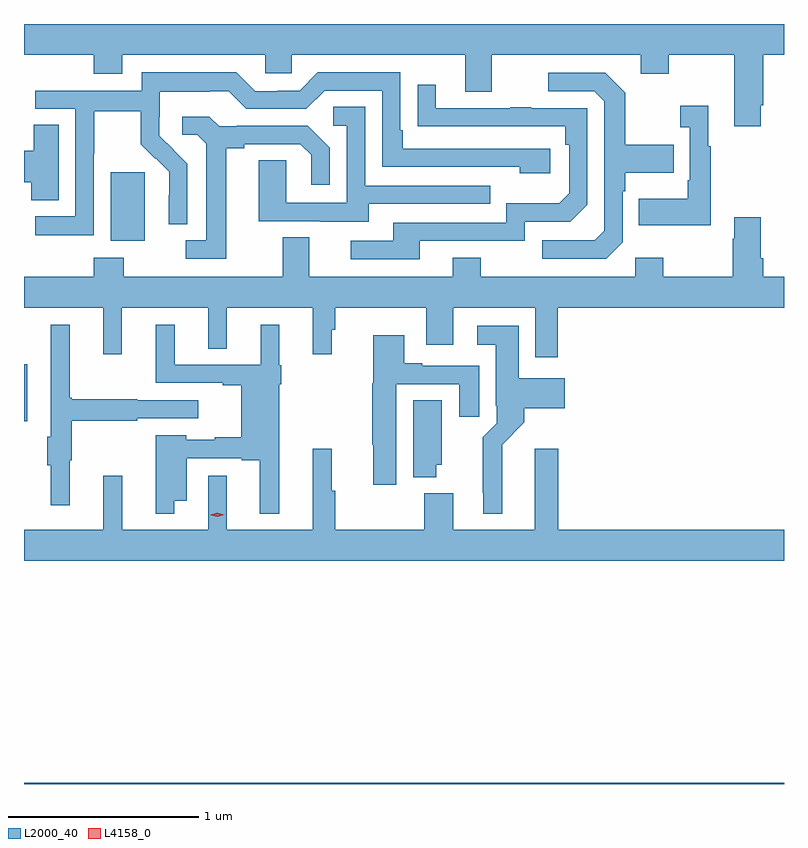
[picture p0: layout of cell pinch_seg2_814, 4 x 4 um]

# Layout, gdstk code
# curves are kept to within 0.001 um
import gdstk
lib = gdstk.Library(unit=1e-6, precision=1e-09)
def R(c, l, rs):  # rectangles x0, y0, x1, y1
    for r in rs: c.add(gdstk.rectangle(r[:2], r[2:], *l))
def P(c, l, *ps):  # polygons
    for p in ps: c.add(gdstk.Polygon(p, *l))
L2000_40 = (2000, 40)
L4158_0 = (4158, 0)

pinch_seg2_814 = lib.new_cell('pinch_seg2_814')
R(pinch_seg2_814, L2000_40, [(728.747,593.182,732.747,593.188), (728.747,595.091,728.764,595.39), (729.203,596.042,729.382,596.403)])
P(pinch_seg2_814, L2000_40, [(732.625,596.755),(732.638,596.755),(732.638,597.02),(732.747,597.02),(732.747,597.182),(728.747,597.182),(728.747,597.02),(729.113,597.02),(729.113,596.921),(729.265,596.921),(729.265,597.02),(730.017,597.02),(730.017,596.922),(730.155,596.922),(730.155,597.02),(731.069,597.02),(731.069,596.826),(731.209,596.826),(731.209,597.02),(731.993,597.02),(731.993,596.921),(732.141,596.921),(732.141,597.02),(732.485,597.02),(732.485,596.643),(732.625,596.643)],
  [(729.114,596.5),(729.117,596.5),(729.117,596.724),(729.361,596.724),(729.361,596.549),(729.438,596.472),(729.441,596.475),(729.512,596.405),(729.512,596.282),(729.51,596.282),(729.51,596.128),(729.606,596.128),(729.606,596.446),(729.46,596.594),(729.46,596.691),(729.462,596.691),(729.462,596.825),(729.725,596.825),(729.725,596.829),(729.825,596.829),(729.918,596.736),(730.233,596.736),(730.329,596.832),(730.632,596.832),(730.632,596.43),(731.357,596.43),(731.357,596.396),(731.518,596.396),(731.518,596.526),(730.741,596.526),(730.741,596.623),(730.728,596.623),(730.728,596.928),(730.293,596.928),(730.197,596.832),(730.079,596.832),(730.079,596.829),(729.963,596.829),(729.863,596.929),(729.366,596.929),(729.366,596.832),(728.805,596.832),(728.805,596.736),(729.018,596.736),(729.018,596.169),(728.805,596.169),(728.805,596.071),(729.114,596.071)],
  [(731.898,596.034),(731.898,596.303),(731.911,596.303),(731.911,596.399),(732.167,596.399),(732.167,596.547),(731.911,596.547),(731.911,596.819),(731.805,596.925),(731.505,596.925),(731.505,596.829),(731.748,596.829),(731.802,596.775),(731.802,596.094),(731.751,596.043),(731.475,596.043),(731.475,595.947),(731.811,595.947)],
  [(730.831,596.04),(731.382,596.04),(731.382,596.142),(731.622,596.142),(731.712,596.232),(731.712,596.739),(731.417,596.739),(731.417,596.744),(731.305,596.744),(731.305,596.739),(730.915,596.739),(730.915,596.863),(730.819,596.863),(730.819,596.644),(731.596,596.643),(731.596,596.546),(731.616,596.546),(731.616,596.292),(731.563,596.239),(731.286,596.239),(731.286,596.136),(730.691,596.136),(730.691,596.04),(730.467,596.04),(730.467,595.944),(730.831,595.944)],
  [(732.361,596.539),(732.349,596.539),(732.349,596.752),(732.201,596.752),(732.201,596.639),(732.252,596.639),(732.252,596.359),(732.24,596.359),(732.24,596.263),(731.983,596.263),(731.983,596.123),(732.361,596.123)],
  [(730.561,596.235),(731.201,596.235),(731.201,596.331),(730.542,596.331),(730.542,596.747),(730.374,596.747),(730.374,596.646),(730.446,596.646),(730.446,596.241),(730.128,596.241),(730.128,596.465),(729.983,596.465),(729.983,596.145),(730.307,596.145),(730.307,596.141),(730.561,596.141)],
  [(729.811,596.528),(729.907,596.528),(729.907,596.55),(730.202,596.55),(730.259,596.493),(730.259,596.337),(730.356,596.337),(730.356,596.53),(730.24,596.646),(729.868,596.646),(729.868,596.643),(729.774,596.643),(729.722,596.695),(729.579,596.695),(729.579,596.598),(729.66,596.598),(729.707,596.551),(729.707,596.043),(729.597,596.043),(729.597,595.947),(729.811,595.947)],
  [(728.929,596.651),(728.798,596.651),(728.798,596.515),(728.747,596.515),(728.747,596.35),(728.786,596.35),(728.786,596.254),(728.929,596.254)],
  [(730.249,596.06),(730.109,596.06),(730.109,595.852),(729.273,595.852),(729.273,595.951),(729.113,595.951),(729.113,595.852),(728.747,595.852),(728.747,595.688),(729.164,595.688),(729.164,595.443),(729.262,595.443),(729.262,595.688),(729.716,595.688),(729.716,595.474),(729.815,595.474),(729.815,595.688),(730.268,595.688),(730.268,595.443),(730.368,595.443),(730.368,595.574),(730.385,595.574),(730.385,595.688),(730.865,595.688),(730.865,595.494),(731.005,595.494),(731.005,595.688),(731.439,595.688),(731.439,595.428),(731.555,595.428),(731.555,595.688),(732.747,595.688),(732.747,595.852),(732.638,595.852),(732.638,595.948),(732.625,595.948),(732.625,596.164),(732.485,596.164),(732.485,596.051),(732.478,596.051),(732.478,595.852),(732.111,595.852),(732.111,595.951),(731.964,595.951),(731.964,595.852),(731.151,595.852),(731.151,595.951),(731.003,595.951),(731.003,595.852),(730.249,595.852)],
  [(728.987,594.885),(728.998,594.885),(728.998,595.095),(729.344,595.095),(729.344,595.107),(729.664,595.107),(729.664,595.203),(729.344,595.203),(729.344,595.206),(728.998,595.206),(728.998,595.216),(728.987,595.216),(728.987,595.6),(728.889,595.6),(728.889,595.01),(728.869,595.01),(728.869,594.86),(728.888,594.86),(728.888,594.648),(728.987,594.648)],
  [(729.539,594.674),(729.604,594.674),(729.604,594.897),(729.893,594.897),(729.893,594.885),(729.989,594.885),(729.989,594.605),(730.09,594.605),(730.09,595.286),(730.102,595.286),(730.102,595.386),(730.091,595.386),(730.091,595.6),(729.992,595.6),(729.992,595.389),(729.541,595.389),(729.541,595.6),(729.44,595.6),(729.44,595.293),(729.794,595.293),(729.794,595.281),(729.89,595.281),(729.89,595.006),(729.751,595.006),(729.751,594.993),(729.6,594.993),(729.6,595.018),(729.441,595.018),(729.441,594.605),(729.539,594.605)],
  [(731.263,594.968),(731.381,595.086),(731.381,595.16),(731.593,595.16),(731.593,595.318),(731.35,595.318),(731.35,595.594),(731.133,595.594),(731.133,595.493),(731.231,595.493),(731.231,595.174),(731.235,595.174),(731.235,595.08),(731.161,595.006),(731.161,594.715),(731.165,594.715),(731.165,594.605),(731.263,594.605)],
  [(730.705,595.287),(731.039,595.287),(731.039,595.116),(731.143,595.116),(731.143,595.383),(730.843,595.383),(730.843,595.396),(730.747,595.396),(730.747,595.543),(730.586,595.543),(730.586,595.29),(730.579,595.29),(730.579,594.968),(730.586,594.968),(730.586,594.756),(730.705,594.756)],
  [(730.918,594.861),(730.945,594.861),(730.945,595.202),(730.796,595.202),(730.796,594.797),(730.918,594.797)],
  [(732.747,594.52),(731.558,594.52),(731.558,594.946),(731.435,594.946),(731.435,594.52),(731.005,594.52),(731.005,594.712),(730.853,594.712),(730.853,594.52),(730.385,594.52),(730.385,594.725),(730.368,594.725),(730.368,594.946),(730.268,594.946),(730.268,594.52),(729.814,594.52),(729.814,594.805),(729.717,594.805),(729.717,594.52),(729.263,594.52),(729.263,594.805),(729.164,594.805),(729.164,594.52),(728.747,594.52),(728.747,594.356),(732.747,594.356)])
P(pinch_seg2_814, L4158_0, [(729.766,594.589),(729.73,594.597),(729.73,594.598),(729.73,594.598),(729.765,594.609),(729.801,594.6),(729.802,594.6),(729.801,594.599)])

lib.write_gds('pinch_seg2_814.gds')
